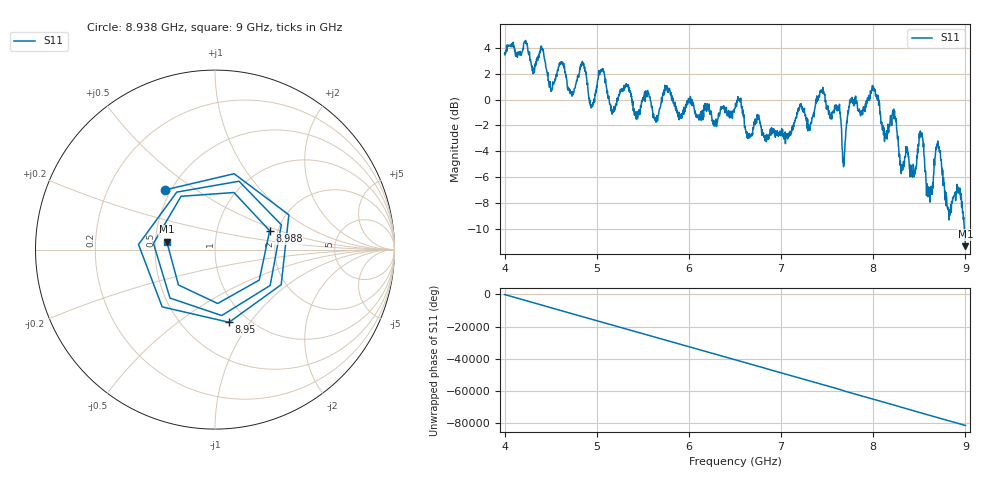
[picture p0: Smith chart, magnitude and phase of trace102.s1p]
! Created with skrf 1.8.0 (http://scikit-rf.org).
# Hz S RI R 50.0
!freq ReS11 ImS11
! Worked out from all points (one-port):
!   1601 points, 4 GHz to 9 GHz, reference 50 ohm
!   lowest |S11| = -11.3 dB at 9 GHz (marker M1), VSWR 1.75, Z = 28.7 + j2.72 ohm
!   |S11| at or under -10 dB: 8.988769 GHz to end of sweep
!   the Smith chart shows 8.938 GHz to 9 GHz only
!   S11 on the Smith chart (normalised r, x): 8.938 GHz: 0.47, +0.38; 8.95 GHz: 0.82, -0.80; 8.988 GHz: 1.81, +0.43; 9 GHz: 0.57, +0.05
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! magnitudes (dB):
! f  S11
! 4 GHz  3.5
! 4.403 GHz  3.9
! 4.506 GHz  0.6
! 4.625 GHz  2.8
! 4.728 GHz  0.5
! 4.853 GHz  2.6
! 4.941 GHz  -0.6
! 5.047 GHz  2.2
! 5.166 GHz  -1.1
! 5.25 GHz  0.6
! 5.875 GHz  -1.1
! 6.5 GHz  -0.7
! 7.125 GHz  -2.0
! 7.447 GHz  0.7
! 7.622 GHz  -0.8
! 7.681 GHz  -4.9
! 7.75 GHz  -0.2
! 8.009 GHz  0.7
! 8.375 GHz  -4.2
! 8.438 GHz  -5.2
! 8.522 GHz  -2.8
! 8.616 GHz  -7.9
! 8.703 GHz  -3.4
! 8.816 GHz  -8.3
! 8.938 GHz  -7.3
! 8.95 GHz  -7.7
! 8.988 GHz  -9.8
! 9 GHz  -11.3
